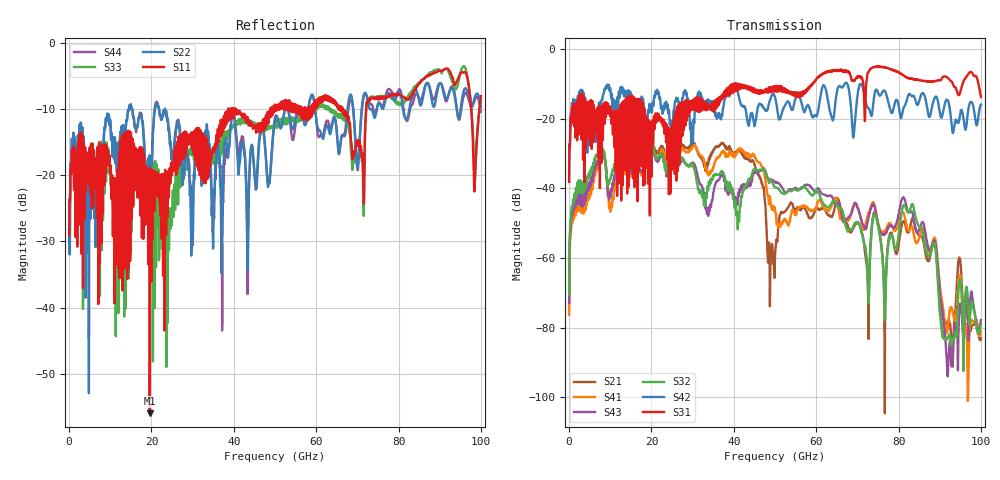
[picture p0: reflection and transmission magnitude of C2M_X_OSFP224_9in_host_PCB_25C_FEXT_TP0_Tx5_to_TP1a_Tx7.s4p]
# GHz S RI R 45
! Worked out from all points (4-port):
!   4000 points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, 25 MHz to 100 GHz, reference 45 ohm
!   strongest paths, dB at 25 MHz, 25.02 GHz, 50.02 GHz, 75.03 GHz, 100 GHz:
!     S31: -38.2, -25.6, -11.0, -5.2, -13.7
!     S42: -37.9, -22.2, -13.8, -12.5, -15.9
!     S32: -70.7, -30.3, -39.7, -50.7, -79.2
!     S43: -73.0, -32.1, -38.2, -50.5, -77.9
!     S41: -76.3, -29.7, -46.5, -49.9, -81.2
!     S21: -73.2, -27.9, -59.1, -50.2, -83.1
!   lowest |S11| = -56.0 dB at 19.6 GHz (marker M1), VSWR 1.00, Z = 45 + j0.135 ohm
!   |S11| at or under -10 dB: start of sweep to 38.66 GHz; 40.53 GHz to 48.87 GHz (8.34 GHz wide, 18.7 % of centre); 66.42 GHz to 72.15 GHz (5.726 GHz wide, 8.26 % of centre) (the widest 3 of 39)
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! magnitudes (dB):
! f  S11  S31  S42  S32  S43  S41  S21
! 25 MHz  -29.1  -38.2  -37.9  -70.7  -73.0  -76.3  -73.2
! 8 GHz  -15.9  -16.8  -14.6  -29.1  -30.4  -31.5  -30.4
! 19.6 GHz  -56.0  -33.6  -16.0  -28.2  -30.0  -30.0  -28.1
! 74.3 GHz  -8.3  -5.2  -12.2  -47.6  -45.9  -45.3  -46.9
! 76.65 GHz  -8.3  -5.2  -12.0  -76.8  -53.3  -52.4  -87.0
! 81.22 GHz  -8.2  -7.5  -16.9  -44.9  -42.6  -47.1  -49.5
! 100 GHz  -8.1  -13.7  -15.9  -79.2  -77.9  -81.2  -83.1
